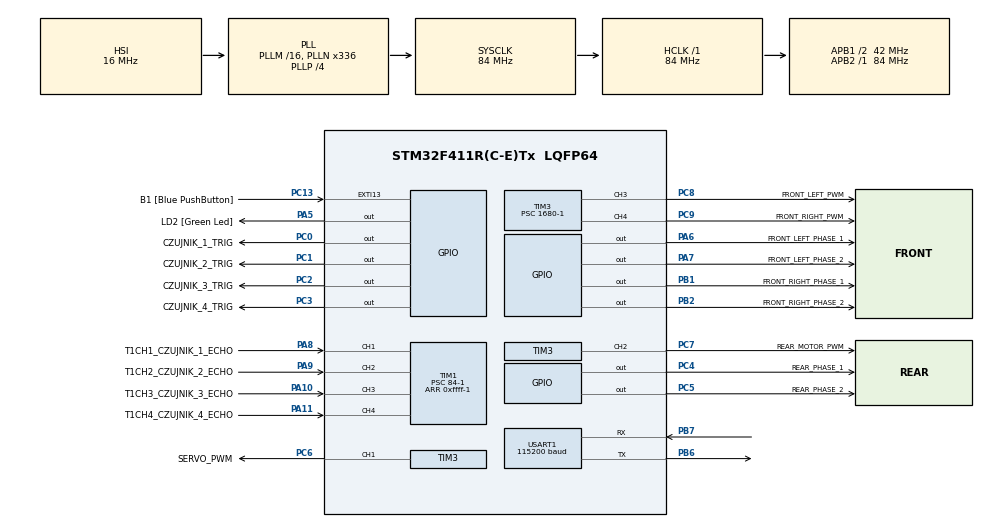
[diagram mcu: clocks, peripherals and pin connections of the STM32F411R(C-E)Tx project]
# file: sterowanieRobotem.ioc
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Dma.Request0=USART1_RX
Dma.USART1_RX.0.Direction=DMA_PERIPH_TO_MEMORY
Dma.USART1_RX.0.FIFOMode=DMA_FIFOMODE_DISABLE
Dma.USART1_RX.0.Instance=DMA2_Stream2
Dma.USART1_RX.0.MemDataAlignment=DMA_MDATAALIGN_BYTE
Dma.USART1_RX.0.MemInc=DMA_MINC_ENABLE
Dma.USART1_RX.0.Mode=DMA_NORMAL
Dma.USART1_RX.0.PeriphDataAlignment=DMA_PDATAALIGN_BYTE
Dma.USART1_RX.0.PeriphInc=DMA_PINC_DISABLE
Dma.USART1_RX.0.Priority=DMA_PRIORITY_LOW
FREERTOS.Tasks01=blink01,16,128,StartBlink01,Default,NULL,Dynamic,NULL,NULL;blink02,16,128,StartBlink02,Default,NULL,Dynamic,NULL,NULL;pwmTask,16,128,StartPwmTask,Default,NULL,Dynamic,NULL,NULL;sensorTask,24,128,StartSensorTask,Default,NULL,Dynamic,NULL,NULL
FREERTOS.configLIBRARY_MAX_SYSCALL_INTERRUPT_PRIORITY=4
FREERTOS.configUSE_NEWLIB_REENTRANT=1
FREERTOS.configUSE_PREEMPTION=0
Mcu.Family=STM32F4
Mcu.Name=STM32F411R(C-E)Tx
Mcu.Package=LQFP64
NVIC.DMA2_Stream2_IRQn=true\:5\:0\:true\:true\:true\:2\:false\:false\:true\:true
NVIC.PriorityGroup=NVIC_PRIORITYGROUP_4
NVIC.TIM1_BRK_TIM9_IRQn=true\:4\:0\:true\:false\:true\:false\:false\:true\:true
NVIC.TIM1_CC_IRQn=true\:4\:0\:true\:false\:true\:true\:true\:true\:true
NVIC.TimeBase=TIM1_BRK_TIM9_IRQn
NVIC.TimeBaseIP=TIM9
NVIC.USART1_IRQn=true\:5\:0\:true\:true\:true\:1\:true\:true\:true\:true
PA10.GPIO_Label=T1CH3_CZUJNIK_3_ECHO
PA10.Signal=S_TIM1_CH3
PA11.GPIO_Label=T1CH4_CZUJNIK_4_ECHO
PA11.Signal=S_TIM1_CH4
PA13.GPIO_Label=TMS
PA13.Mode=Serial_Wire
PA13.Signal=SYS_JTMS-SWDIO
PA14.GPIO_Label=TCK
PA14.Mode=Serial_Wire
PA14.Signal=SYS_JTCK-SWCLK
PA5.GPIO_Label=LD2 [Green Led]
PA5.Signal=GPIO_Output
PA6.GPIO_Label=FRONT_LEFT_PHASE_1
PA6.Signal=GPIO_Output
PA7.GPIO_Label=FRONT_LEFT_PHASE_2
PA7.Signal=GPIO_Output
PA8.GPIO_Label=T1CH1_CZUJNIK_1_ECHO
PA8.Signal=S_TIM1_CH1
PA9.GPIO_Label=T1CH2_CZUJNIK_2_ECHO
PA9.Signal=S_TIM1_CH2
PB1.GPIO_Label=FRONT_RIGHT_PHASE_1
PB1.Signal=GPIO_Output
PB2.GPIO_Label=FRONT_RIGHT_PHASE_2
PB2.Signal=GPIO_Output
PB3.GPIO_Label=SWO
PB3.Signal=SYS_JTDO-SWO
PB6.Mode=Asynchronous
PB6.Signal=USART1_TX
PB7.Mode=Asynchronous
PB7.Signal=USART1_RX
PC0.GPIO_Label=CZUJNIK_1_TRIG
PC0.GPIO_Speed=GPIO_SPEED_FREQ_HIGH
PC0.Signal=GPIO_Output
PC1.GPIO_Label=CZUJNIK_2_TRIG
PC1.Signal=GPIO_Output
PC13-ANTI_TAMP.GPIO_Label=B1 [Blue PushButton]
PC13-ANTI_TAMP.GPIO_ModeDefaultEXTI=GPIO_MODE_IT_FALLING
PC13-ANTI_TAMP.Signal=GPXTI13
PC14-OSC32_IN.Signal=RCC_OSC32_IN
PC15-OSC32_OUT.Signal=RCC_OSC32_OUT
PC2.GPIO_Label=CZUJNIK_3_TRIG
PC2.Signal=GPIO_Output
PC3.GPIO_Label=CZUJNIK_4_TRIG
PC3.Signal=GPIO_Output
PC4.GPIO_Label=REAR_PHASE_1
PC4.Signal=GPIO_Output
PC5.GPIO_Label=REAR_PHASE_2
PC5.Signal=GPIO_Output
PC6.GPIO_Label=SERVO_PWM
PC6.Signal=S_TIM3_CH1
PC7.GPIO_Label=REAR_MOTOR_PWM
PC7.Signal=S_TIM3_CH2
PC8.GPIO_Label=FRONT_LEFT_PWM
PC8.Signal=S_TIM3_CH3
PC9.GPIO_Label=FRONT_RIGHT_PWM
PC9.Signal=S_TIM3_CH4
PH0\ -\ OSC_IN.Signal=RCC_OSC_IN
PH1\ -\ OSC_OUT.Signal=RCC_OSC_OUT
ProjectManager.HeapSize=0x200
ProjectManager.StackSize=0x400
ProjectManager.TargetToolchain=STM32CubeIDE
RCC.48MHZClocksFreq_Value=84000000
RCC.AHBFreq_Value=84000000
RCC.APB1CLKDivider=RCC_HCLK_DIV2
RCC.APB1Freq_Value=42000000
RCC.APB1TimFreq_Value=84000000
RCC.APB2Freq_Value=84000000
RCC.APB2TimFreq_Value=84000000
RCC.CortexFreq_Value=84000000
RCC.FLatency-AdvancedSettings=FLASH_LATENCY_2
RCC.HCLKFreq_Value=84000000
RCC.HSE_VALUE=8000000
RCC.HSI_VALUE=16000000
RCC.LSE_VALUE=32768
RCC.PLLN=336
RCC.PLLP=RCC_PLLP_DIV4
RCC.SYSCLKFreq_VALUE=84000000
RCC.SYSCLKSource=RCC_SYSCLKSOURCE_PLLCLK
RCC.VCOOutputFreq_Value=336000000
SH.S_TIM1_CH1.0=TIM1_CH1,Input_Capture1_from_TI1
SH.S_TIM1_CH2.0=TIM1_CH2,Input_Capture2_from_TI2
SH.S_TIM1_CH3.0=TIM1_CH3,Input_Capture3_from_TI3
SH.S_TIM1_CH4.0=TIM1_CH4,Input_Capture4_from_TI4
SH.S_TIM3_CH1.0=TIM3_CH1,PWM Generation1 CH1
SH.S_TIM3_CH2.0=TIM3_CH2,PWM Generation2 CH2
SH.S_TIM3_CH3.0=TIM3_CH3,PWM Generation3 CH3
SH.S_TIM3_CH4.0=TIM3_CH4,PWM Generation4 CH4
TIM1.Channel-Input_Capture1_from_TI1=TIM_CHANNEL_1
TIM1.Channel-Input_Capture2_from_TI2=TIM_CHANNEL_2
TIM1.Channel-Input_Capture3_from_TI3=TIM_CHANNEL_3
TIM1.Channel-Input_Capture4_from_TI4=TIM_CHANNEL_4
TIM1.Period=0xffff-1
TIM1.Prescaler=84-1
TIM3.Channel-PWM\ Generation1\ CH1=TIM_CHANNEL_1
TIM3.Channel-PWM\ Generation2\ CH2=TIM_CHANNEL_2
TIM3.Channel-PWM\ Generation3\ CH3=TIM_CHANNEL_3
TIM3.Channel-PWM\ Generation4\ CH4=TIM_CHANNEL_4
TIM3.Period=1000-1
TIM3.Prescaler=1680-1
TIM4.Prescaler=84-1
USART1.BaudRate=115200
USART1.VirtualMode=VM_ASYNC
VP_FREERTOS_VS_CMSIS_V2.Mode=CMSIS_V2
VP_SYS_VS_tim9.Mode=TIM9
VP_TIM3_VS_ClockSourceINT.Mode=Internal
VP_TIM4_VS_ClockSourceINT.Mode=Internal
board=NUCLEO-F411RE

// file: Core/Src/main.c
/* USER CODE BEGIN Header */
/**
  ******************************************************************************
  * @file           : main.c
  * @brief          : Main program body
  ******************************************************************************
  * @attention
  *
  * Copyright (c) 2022 STMicroelectronics.
  * All rights reserved.
  *
  * This software is licensed under terms that can be found in the LICENSE file
  * in the root directory of this software component.
  * If no LICENSE file comes with this software, it is provided AS-IS.
  *
  ******************************************************************************
  */
/* USER CODE END Header */
#include "main.h"
#include "cmsis_os.h"

/* USER CODE BEGIN Includes */
#include <string.h>
#include <stdlib.h>
#include <stdio.h>
#include "jsmn.h"
/* USER CODE END Includes */

/* USER CODE BEGIN PD */
#define COMMAND_BUFFER_LENGTH 32
#define UART1_TX_BUFFER_LENGTH 60
#define UART_TX_TIMEOUT_MS 100
#define DMA_RECEIVE_LENGTH 30
#define HCSR04_TIME_BETWEEN_NEXT_SENSOR_USAGE_MS 50

/* USER CODE END PD */

TIM_HandleTypeDef htim1;
TIM_HandleTypeDef htim3;
TIM_HandleTypeDef htim4;

UART_HandleTypeDef huart1;
DMA_HandleTypeDef hdma_usart1_rx;

/* Definitions for blink01 */
osThreadId_t blink01Handle;
const osThreadAttr_t blink01_attributes = {
  .name = "blink01",
  .stack_size = 128 * 4,
  .priority = (osPriority_t) osPriorityBelowNormal,
};
/* Definitions for blink02 */
osThreadId_t blink02Handle;
const osThreadAttr_t blink02_attributes = {
  .name = "blink02",
  .stack_size = 128 * 4,
  .priority = (osPriority_t) osPriorityBelowNormal,
};
/* Definitions for pwmTask */
osThreadId_t pwmTaskHandle;
const osThreadAttr_t pwmTask_attributes = {
  .name = "pwmTask",
  .stack_size = 128 * 4,
  .priority = (osPriority_t) osPriorityBelowNormal,
};
/* Definitions for sensorTask */
osThreadId_t sensorTaskHandle;
const osThreadAttr_t sensorTask_attributes = {
  .name = "sensorTask",
  .stack_size = 128 * 4,
  .priority = (osPriority_t) osPriorityNormal,
};
/* USER CODE BEGIN PV */
int i;
int r;
int commandBufferIndex;
jsmn_parser p;
jsmntok_t t[128]; /* We expect no more than 128 tokens */
char commandBuffer[COMMAND_BUFFER_LENGTH] = {0};
int nestingLevel;
int speed = 0;
int direction = 0;
int drive_direction = 0;
int motor_speed = 0;

/// ODBIOR KOMEND Z BLUETOOTH
uint8_t ReceiveBuffer[32];
uint8_t UART1_txBuffer[UART1_TX_BUFFER_LENGTH] = {0};

/// CZUJNIKI
uint32_t IC_Val1 = 0;
uint32_t IC_Val2 = 0;
uint32_t Difference = 0;
uint8_t Is_First_Captured = 0;  // is the first value captured ?
uint8_t distance1 = 0;
uint8_t distance2 = 0;
uint8_t distance3 = 0;
uint8_t distance4 = 0;

/* USER CODE END PV */

void SystemClock_Config(void);
static void MX_GPIO_Init(void);
static void MX_DMA_Init(void);
static void MX_TIM3_Init(void);
static void MX_USART1_UART_Init(void);
static void MX_TIM1_Init(void);
static void MX_TIM4_Init(void);
void StartBlink01(void *argument);
void StartBlink02(void *argument);
void StartPwmTask(void *argument);
void StartSensorTask(void *argument);

static void MX_NVIC_Init(void);
/* USER CODE BEGIN PFP */
static int jsoneq(const char *json, jsmntok_t *tok, const char *s);
void zeroingBuffersAndJsonParser();
void delay_us (uint16_t us);
/* USER CODE END PFP */

int main(void)
{

  /* MCU Configuration--------------------------------------------------------*/

  /* Reset of all peripherals, Initializes the Flash interface and the Systick. */
  HAL_Init();

  /* USER CODE BEGIN Init */
    commandBufferIndex = 0;
    nestingLevel = 0;
//  speed = 0;
//  direction = 0;

    jsmn_init(&p);

  /* USER CODE END Init */

  /* Configure the system clock */
  SystemClock_Config();

  /* Initialize all configured peripherals */
  MX_GPIO_Init();
  MX_DMA_Init();
  MX_TIM3_Init();
  MX_USART1_UART_Init();
  MX_TIM1_Init();
  MX_TIM4_Init();

  /* Initialize interrupts */
  MX_NVIC_Init();
  /* USER CODE BEGIN 2 */
  HAL_TIM_Base_Start(&htim3); //start timera 3 dla generowania PWM do sterowania silnikami i serwem
  HAL_TIM_Base_Start(&htim4); //start timera 4 do odmierzania mikrosekund dla obslugi czujnikow ultradzwiekowych HC-04
  HAL_TIM_IC_Start_IT(&htim1, TIM_CHANNEL_1);
  HAL_TIM_IC_Start_IT(&htim1, TIM_CHANNEL_2);
  HAL_TIM_IC_Start_IT(&htim1, TIM_CHANNEL_3);
  HAL_TIM_IC_Start_IT(&htim1, TIM_CHANNEL_4);
  HAL_TIM_PWM_Start(&htim3, TIM_CHANNEL_1); //start timera 3 do generowania PWM do sterowania silnikami i serwem robota
  HAL_TIM_PWM_Start(&htim3, TIM_CHANNEL_2);
  HAL_TIM_PWM_Start(&htim3, TIM_CHANNEL_3);
  HAL_TIM_PWM_Start(&htim3, TIM_CHANNEL_4);
  HAL_UARTEx_ReceiveToIdle_DMA(&huart1, ReceiveBuffer, DMA_RECEIVE_LENGTH);
  __HAL_DMA_DISABLE_IT(&hdma_usart1_rx, DMA_IT_HT);
  /* USER CODE END 2 */

  /* Init scheduler */
  osKernelInitialize();

  /* Create the thread(s) */
  /* creation of blink01 */
  blink01Handle = osThreadNew(StartBlink01, NULL, &blink01_attributes);

  /* creation of blink02 */
  blink02Handle = osThreadNew(StartBlink02, NULL, &blink02_attributes);

  /* creation of pwmTask */
  pwmTaskHandle = osThreadNew(StartPwmTask, NULL, &pwmTask_attributes);

  /* creation of sensorTask */
  sensorTaskHandle = osThreadNew(StartSensorTask, NULL, &sensorTask_attributes);

  /* Start scheduler */
  osKernelStart();

  /* We should never get here as control is now taken by the scheduler */
  /* Infinite loop */
    while (1) {

    }
}

void SystemClock_Config(void)
{
  RCC_OscInitTypeDef RCC_OscInitStruct = {0};
  RCC_ClkInitTypeDef RCC_ClkInitStruct = {0};

  /** Configure the main internal regulator output voltage
  */
  __HAL_RCC_PWR_CLK_ENABLE();
  __HAL_PWR_VOLTAGESCALING_CONFIG(PWR_REGULATOR_VOLTAGE_SCALE1);

  /** Initializes the RCC Oscillators according to the specified parameters
  * in the RCC_OscInitTypeDef structure.
  */
  RCC_OscInitStruct.OscillatorType = RCC_OSCILLATORTYPE_HSI;
  RCC_OscInitStruct.HSIState = RCC_HSI_ON;
  RCC_OscInitStruct.HSICalibrationValue = RCC_HSICALIBRATION_DEFAULT;
  RCC_OscInitStruct.PLL.PLLState = RCC_PLL_ON;
  RCC_OscInitStruct.PLL.PLLSource = RCC_PLLSOURCE_HSI;
  RCC_OscInitStruct.PLL.PLLM = 16;
  RCC_OscInitStruct.PLL.PLLN = 336;
  RCC_OscInitStruct.PLL.PLLP = RCC_PLLP_DIV4;
  RCC_OscInitStruct.PLL.PLLQ = 4;
  if (HAL_RCC_OscConfig(&RCC_OscInitStruct) != HAL_OK)
  {
    Error_Handler();
  }

  /** Initializes the CPU, AHB and APB buses clocks
  */
  RCC_ClkInitStruct.ClockType = RCC_CLOCKTYPE_HCLK|RCC_CLOCKTYPE_SYSCLK
                              |RCC_CLOCKTYPE_PCLK1|RCC_CLOCKTYPE_PCLK2;
  RCC_ClkInitStruct.SYSCLKSource = RCC_SYSCLKSOURCE_PLLCLK;
  RCC_ClkInitStruct.AHBCLKDivider = RCC_SYSCLK_DIV1;
  RCC_ClkInitStruct.APB1CLKDivider = RCC_HCLK_DIV2;
  RCC_ClkInitStruct.APB2CLKDivider = RCC_HCLK_DIV1;

  if (HAL_RCC_ClockConfig(&RCC_ClkInitStruct, FLASH_LATENCY_2) != HAL_OK)
  {
    Error_Handler();
  }
}

/**
  * @brief NVIC Configuration.
  * @retval None
  */
static void MX_NVIC_Init(void)
{
  /* USART1_IRQn interrupt configuration */
  HAL_NVIC_SetPriority(USART1_IRQn, 5, 0);
  HAL_NVIC_EnableIRQ(USART1_IRQn);
  /* DMA2_Stream2_IRQn interrupt configuration */
  HAL_NVIC_SetPriority(DMA2_Stream2_IRQn, 5, 0);
  HAL_NVIC_EnableIRQ(DMA2_Stream2_IRQn);
}

static void MX_TIM1_Init(void)
{

  TIM_MasterConfigTypeDef sMasterConfig = {0};
  TIM_IC_InitTypeDef sConfigIC = {0};

  htim1.Instance = TIM1;
  htim1.Init.Prescaler = 84-1;
  htim1.Init.CounterMode = TIM_COUNTERMODE_UP;
  htim1.Init.Period = 0xffff-1;
  htim1.Init.ClockDivision = TIM_CLOCKDIVISION_DIV1;
  htim1.Init.RepetitionCounter = 0;
  htim1.Init.AutoReloadPreload = TIM_AUTORELOAD_PRELOAD_DISABLE;
  if (HAL_TIM_IC_Init(&htim1) != HAL_OK)
  {
    Error_Handler();
  }
  sMasterConfig.MasterOutputTrigger = TIM_TRGO_RESET;
  sMasterConfig.MasterSlaveMode = TIM_MASTERSLAVEMODE_DISABLE;
  if (HAL_TIMEx_MasterConfigSynchronization(&htim1, &sMasterConfig) != HAL_OK)
  {
    Error_Handler();
  }
  sConfigIC.ICPolarity = TIM_INPUTCHANNELPOLARITY_RISING;
  sConfigIC.ICSelection = TIM_ICSELECTION_DIRECTTI;
  sConfigIC.ICPrescaler = TIM_ICPSC_DIV1;
  sConfigIC.ICFilter = 0;
  if (HAL_TIM_IC_ConfigChannel(&htim1, &sConfigIC, TIM_CHANNEL_1) != HAL_OK)
  {
    Error_Handler();
  }
  if (HAL_TIM_IC_ConfigChannel(&htim1, &sConfigIC, TIM_CHANNEL_2) != HAL_OK)
  {
    Error_Handler();
  }
  if (HAL_TIM_IC_ConfigChannel(&htim1, &sConfigIC, TIM_CHANNEL_3) != HAL_OK)
  {
    Error_Handler();
  }
  if (HAL_TIM_IC_ConfigChannel(&htim1, &sConfigIC, TIM_CHANNEL_4) != HAL_OK)
  {
    Error_Handler();
  }

}

static void MX_TIM3_Init(void)
{

  TIM_ClockConfigTypeDef sClockSourceConfig = {0};
  TIM_MasterConfigTypeDef sMasterConfig = {0};
  TIM_OC_InitTypeDef sConfigOC = {0};

  htim3.Instance = TIM3;
  htim3.Init.Prescaler = 1680-1;
  htim3.Init.CounterMode = TIM_COUNTERMODE_UP;
  htim3.Init.Period = 1000-1;
  htim3.Init.ClockDivision = TIM_CLOCKDIVISION_DIV1;
  htim3.Init.AutoReloadPreload = TIM_AUTORELOAD_PRELOAD_DISABLE;
  if (HAL_TIM_Base_Init(&htim3) != HAL_OK)
  {
    Error_Handler();
  }
  sClockSourceConfig.ClockSource = TIM_CLOCKSOURCE_INTERNAL;
  if (HAL_TIM_ConfigClockSource(&htim3, &sClockSourceConfig) != HAL_OK)
  {
    Error_Handler();
  }
  if (HAL_TIM_PWM_Init(&htim3) != HAL_OK)
  {
    Error_Handler();
  }
  sMasterConfig.MasterOutputTrigger = TIM_TRGO_RESET;
  sMasterConfig.MasterSlaveMode = TIM_MASTERSLAVEMODE_DISABLE;
  if (HAL_TIMEx_MasterConfigSynchronization(&htim3, &sMasterConfig) != HAL_OK)
  {
    Error_Handler();
  }
  sConfigOC.OCMode = TIM_OCMODE_PWM1;
  sConfigOC.Pulse = 0;
  sConfigOC.OCPolarity = TIM_OCPOLARITY_HIGH;
  sConfigOC.OCFastMode = TIM_OCFAST_DISABLE;
  if (HAL_TIM_PWM_ConfigChannel(&htim3, &sConfigOC, TIM_CHANNEL_1) != HAL_OK)
  {
    Error_Handler();
  }
  if (HAL_TIM_PWM_ConfigChannel(&htim3, &sConfigOC, TIM_CHANNEL_2) != HAL_OK)
  {
    Error_Handler();
  }
  if (HAL_TIM_PWM_ConfigChannel(&htim3, &sConfigOC, TIM_CHANNEL_3) != HAL_OK)
  {
    Error_Handler();
  }
  if (HAL_TIM_PWM_ConfigChannel(&htim3, &sConfigOC, TIM_CHANNEL_4) != HAL_OK)
  {
    Error_Handler();
  }
  HAL_TIM_MspPostInit(&htim3);

}

static void MX_TIM4_Init(void)
{

  TIM_ClockConfigTypeDef sClockSourceConfig = {0};
  TIM_MasterConfigTypeDef sMasterConfig = {0};

  htim4.Instance = TIM4;
  htim4.Init.Prescaler = 84-1;
  htim4.Init.CounterMode = TIM_COUNTERMODE_UP;
  htim4.Init.Period = 65535;
  htim4.Init.ClockDivision = TIM_CLOCKDIVISION_DIV1;
  htim4.Init.AutoReloadPreload = TIM_AUTORELOAD_PRELOAD_DISABLE;
  if (HAL_TIM_Base_Init(&htim4) != HAL_OK)
  {
    Error_Handler();
  }
  sClockSourceConfig.ClockSource = TIM_CLOCKSOURCE_INTERNAL;
  if (HAL_TIM_ConfigClockSource(&htim4, &sClockSourceConfig) != HAL_OK)
  {
    Error_Handler();
  }
  sMasterConfig.MasterOutputTrigger = TIM_TRGO_RESET;
  sMasterConfig.MasterSlaveMode = TIM_MASTERSLAVEMODE_DISABLE;
  if (HAL_TIMEx_MasterConfigSynchronization(&htim4, &sMasterConfig) != HAL_OK)
  {
    Error_Handler();
  }

}

static void MX_USART1_UART_Init(void)
{

  huart1.Instance = USART1;
  huart1.Init.BaudRate = 115200;
  huart1.Init.WordLength = UART_WORDLENGTH_8B;
  huart1.Init.StopBits = UART_STOPBITS_1;
  huart1.Init.Parity = UART_PARITY_NONE;
  huart1.Init.Mode = UART_MODE_TX_RX;
  huart1.Init.HwFlowCtl = UART_HWCONTROL_NONE;
  huart1.Init.OverSampling = UART_OVERSAMPLING_16;
  if (HAL_UART_Init(&huart1) != HAL_OK)
  {
    Error_Handler();
  }

}

static void MX_DMA_Init(void)
{

  /* DMA controller clock enable */
  __HAL_RCC_DMA2_CLK_ENABLE();

}

static void MX_GPIO_Init(void)
{
  GPIO_InitTypeDef GPIO_InitStruct = {0};

  /* GPIO Ports Clock Enable */
  __HAL_RCC_GPIOC_CLK_ENABLE();
  __HAL_RCC_GPIOH_CLK_ENABLE();
  __HAL_RCC_GPIOA_CLK_ENABLE();
  __HAL_RCC_GPIOB_CLK_ENABLE();

  /*Configure GPIO pin Output Level */
  HAL_GPIO_WritePin(GPIOC, CZUJNIK_1_TRIG_Pin|CZUJNIK_2_TRIG_Pin|CZUJNIK_3_TRIG_Pin|CZUJNIK_4_TRIG_Pin
                          |REAR_PHASE_1_Pin|REAR_PHASE_2_Pin, GPIO_PIN_RESET);

  /*Configure GPIO pin Output Level */
  HAL_GPIO_WritePin(GPIOA, LD2_Pin|FRONT_LEFT_PHASE_1_Pin|FRONT_LEFT_PHASE_2_Pin, GPIO_PIN_RESET);

  /*Configure GPIO pin Output Level */
  HAL_GPIO_WritePin(GPIOB, FRONT_RIGHT_PHASE_1_Pin|FRONT_RIGHT_PHASE_2_Pin, GPIO_PIN_RESET);

  /*Configure GPIO pin : B1_Pin */
  GPIO_InitStruct.Pin = B1_Pin;
  GPIO_InitStruct.Mode = GPIO_MODE_IT_FALLING;
  GPIO_InitStruct.Pull = GPIO_NOPULL;
  HAL_GPIO_Init(B1_GPIO_Port, &GPIO_InitStruct);

  /*Configure GPIO pin : CZUJNIK_1_TRIG_Pin */
  GPIO_InitStruct.Pin = CZUJNIK_1_TRIG_Pin;
  GPIO_InitStruct.Mode = GPIO_MODE_OUTPUT_PP;
  GPIO_InitStruct.Pull = GPIO_NOPULL;
  GPIO_InitStruct.Speed = GPIO_SPEED_FREQ_HIGH;
  HAL_GPIO_Init(CZUJNIK_1_TRIG_GPIO_Port, &GPIO_InitStruct);

  /*Configure GPIO pins : CZUJNIK_2_TRIG_Pin CZUJNIK_3_TRIG_Pin CZUJNIK_4_TRIG_Pin REAR_PHASE_1_Pin
                           REAR_PHASE_2_Pin */
  GPIO_InitStruct.Pin = CZUJNIK_2_TRIG_Pin|CZUJNIK_3_TRIG_Pin|CZUJNIK_4_TRIG_Pin|REAR_PHASE_1_Pin
                          |REAR_PHASE_2_Pin;
  GPIO_InitStruct.Mode = GPIO_MODE_OUTPUT_PP;
  GPIO_InitStruct.Pull = GPIO_NOPULL;
  GPIO_InitStruct.Speed = GPIO_SPEED_FREQ_LOW;
  HAL_GPIO_Init(GPIOC, &GPIO_InitStruct);

  /*Configure GPIO pins : LD2_Pin FRONT_LEFT_PHASE_1_Pin FRONT_LEFT_PHASE_2_Pin */
  GPIO_InitStruct.Pin = LD2_Pin|FRONT_LEFT_PHASE_1_Pin|FRONT_LEFT_PHASE_2_Pin;
  GPIO_InitStruct.Mode = GPIO_MODE_OUTPUT_PP;
  GPIO_InitStruct.Pull = GPIO_NOPULL;
  GPIO_InitStruct.Speed = GPIO_SPEED_FREQ_LOW;
  HAL_GPIO_Init(GPIOA, &GPIO_InitStruct);

  /*Configure GPIO pins : FRONT_RIGHT_PHASE_1_Pin FRONT_RIGHT_PHASE_2_Pin */
  GPIO_InitStruct.Pin = FRONT_RIGHT_PHASE_1_Pin|FRONT_RIGHT_PHASE_2_Pin;
  GPIO_InitStruct.Mode = GPIO_MODE_OUTPUT_PP;
  GPIO_InitStruct.Pull = GPIO_NOPULL;
  GPIO_InitStruct.Speed = GPIO_SPEED_FREQ_LOW;
  HAL_GPIO_Init(GPIOB, &GPIO_InitStruct);

}

/* USER CODE BEGIN 4 */
static int jsoneq(const char *json, jsmntok_t *tok, const char *s) {
    if (tok->type == JSMN_STRING && (int) strlen(s) == tok->end - tok->start &&
        strncmp(json + tok->start, s, tok->end - tok->start) == 0) {
        return 0;
    }
    return -1;
}

void zeroingBuffersAndJsonParser() {
    commandBufferIndex = 0;
    nestingLevel = 0;
    for (int z = 0; z < COMMAND_BUFFER_LENGTH; z++)
        commandBuffer[z] = 0;
    for (int z = 0; z < UART1_TX_BUFFER_LENGTH; z++)
        UART1_txBuffer[z] = 0;
    jsmn_init(&p);
}

void zeroingUartTxBuffer() {
    for (int z = 0; z < UART1_TX_BUFFER_LENGTH; z++)
        UART1_txBuffer[z] = 0;
}

void HAL_UARTEx_RxEventCallback(UART_HandleTypeDef *huart, uint16_t Size) {
    // Check if UART1 trigger the Callback
    if (huart->Instance == USART1) {
        for (int k = 0; k < Size; k++) {
            if (ReceiveBuffer[k] == '{') {
                commandBuffer[commandBufferIndex] = ReceiveBuffer[k];
                commandBufferIndex++;
                nestingLevel++;
            } else if (ReceiveBuffer[k] == '}') {
                commandBuffer[commandBufferIndex] = ReceiveBuffer[k];
                commandBufferIndex++;
                nestingLevel--;
            } else if (ReceiveBuffer[k] == '!') {
                if (nestingLevel != 0) {
                    zeroingBuffersAndJsonParser();
//                    const char *error = "Invalid JSON command - wrong JSON nesting level";
//                    HAL_UART_Transmit(&huart1, error, strlen(error), UART_TX_TIMEOUT_MS);
                    speed = direction = 0;
                    break;
                } else {
                    r = jsmn_parse(&p, commandBuffer, strlen(commandBuffer), t, sizeof(t) / sizeof(t[0]));
                    if (r < 0) {
//                    HAL_UART_Transmit(&huart1, "Failed to parse JSON\n", 22, UART_TX_TIMEOUT_MS);
                    } else if (r < 1 || t[0].type != JSMN_OBJECT) {
//                    HAL_UART_Transmit(&huart1, "Object expected\n", 17, UART_TX_TIMEOUT_MS);
                    } else {
                        for (i = 1; i < r; i++) {
                            if (jsoneq((char *) commandBuffer, &t[i], "spd") == 0) {
                                /* We may use strndup() to fetch string value */
                                speed = strtol((char *) &commandBuffer + (t[i + 1].start), NULL, 10);
                                if (speed > 0) {
                                    motor_speed = speed;
                                    drive_direction = 1;
                                } else if (speed < 0) {
                                    motor_speed = -speed;
                                    drive_direction = -1;
                                } else {
                                    motor_speed = 0;
                                    drive_direction = 0;
                                }
//                                sprintf((char *) &UART1_txBuffer, "Speed: %.*s, konw_spd: %d\n",
//                                        t[i + 1].end - t[i + 1].start,
//                                        commandBuffer + t[i + 1].start, speed);
                                i++;
//                            HAL_UART_Transmit(&huart1, UART1_txBuffer, strlen(UART1_txBuffer), UART_TX_TIMEOUT_MS);
                            } else if (jsoneq(commandBuffer, &t[i], "dir") == 0) {
                                direction = strtol((char *) &commandBuffer + (t[i + 1].start), NULL, 10);
//                                sprintf((char *) &UART1_txBuffer, "Direction: %.*s, konw_dir: %d\n",
//                                        t[i + 1].end - t[i + 1].start,
//                                        commandBuffer + t[i + 1].start, direction);
                                i++;
//                            HAL_UART_Transmit(&huart1, UART1_txBuffer, strlen(UART1_txBuffer), UART_TX_TIMEOUT_MS);
                            } else {
//                                sprintf((char *) &UART1_txBuffer, "Unexpected key: %.*s\n", t[i].end - t[i].start,
//                                        commandBuffer + t[i].start);
//                            HAL_UART_Transmit(&huart1, UART1_txBuffer, strlen(UART1_txBuffer), UART_TX_TIMEOUT_MS);
                            }
                        }
                    }
                    zeroingBuffersAndJsonParser();
                    break;
                }
            } else {
                commandBuffer[commandBufferIndex] = ReceiveBuffer[k];
                commandBufferIndex++;
            }

            //TODO: mozna zoptymalizowac i wywalic poza ifa
            // Start to listening again - IMPORTANT!
            HAL_UARTEx_ReceiveToIdle_DMA(&huart1, ReceiveBuffer, DMA_RECEIVE_LENGTH);
            __HAL_DMA_DISABLE_IT(&hdma_usart1_rx, DMA_IT_HT);
        }
    } else {
        HAL_UARTEx_ReceiveToIdle_DMA(&huart1, ReceiveBuffer, DMA_RECEIVE_LENGTH);
        __HAL_DMA_DISABLE_IT(&hdma_usart1_rx, DMA_IT_HT);
    }
    ReceiveBuffer[0] = 0;
}

void HAL_TIM_IC_CaptureCallback(TIM_HandleTypeDef *htim) {
    if (htim->Channel == HAL_TIM_ACTIVE_CHANNEL_1) { // if the interrupt source is channel1
        if (Is_First_Captured == 0) { // if the first value is not captured
            IC_Val1 = HAL_TIM_ReadCapturedValue(htim, TIM_CHANNEL_1); // read the first value
            Is_First_Captured = 1;  // set the first captured as true
            // Now change the polarity to falling edge
            __HAL_TIM_SET_CAPTUREPOLARITY(htim, TIM_CHANNEL_1, TIM_INPUTCHANNELPOLARITY_FALLING);
        } else if (Is_First_Captured == 1) {  // if the first is already captured
            IC_Val2 = HAL_TIM_ReadCapturedValue(htim, TIM_CHANNEL_1);  // read second value
            __HAL_TIM_SET_COUNTER(htim, 0);  // reset the counter

            if (IC_Val2 > IC_Val1) {
                Difference = IC_Val2 - IC_Val1;
            } else if (IC_Val1 > IC_Val2) {
                Difference = (0xffff - IC_Val1) + IC_Val2;
            }

            distance1 = Difference * .034 / 2;
            Is_First_Captured = 0; // set it back to false

//            sprintf((char *) &UART1_txBuffer, "Odleglosc1: %d\n", distance1);
//            HAL_UART_Transmit(&huart1, UART1_txBuffer, strlen(UART1_txBuffer), UART_TX_TIMEOUT_MS);
//            zeroingUartTxBuffer();

            // set polarity to rising edge
            __HAL_TIM_SET_CAPTUREPOLARITY(htim, TIM_CHANNEL_1, TIM_INPUTCHANNELPOLARITY_RISING);
            __HAL_TIM_DISABLE_IT(&htim1, TIM_IT_CC1);
        }
    } else if (htim->Channel == HAL_TIM_ACTIVE_CHANNEL_2) { // if the interrupt source is channel2
        if (Is_First_Captured == 0) { // if the first value is not captured
            IC_Val1 = HAL_TIM_ReadCapturedValue(htim, TIM_CHANNEL_2); // read the first value
            Is_First_Captured = 1;  // set the first captured as true
            // Now change the polarity to falling edge
            __HAL_TIM_SET_CAPTUREPOLARITY(htim, TIM_CHANNEL_2, TIM_INPUTCHANNELPOLARITY_FALLING);
        } else if (Is_First_Captured == 1) {  // if the first is already captured
            IC_Val2 = HAL_TIM_ReadCapturedValue(htim, TIM_CHANNEL_2);  // read second value
            __HAL_TIM_SET_COUNTER(htim, 0);  // reset the counter

            if (IC_Val2 > IC_Val1) {
                Difference = IC_Val2 - IC_Val1;
            } else if (IC_Val1 > IC_Val2) {
                Difference = (0xffff - IC_Val1) + IC_Val2;
            }

            distance2 = Difference * .034 / 2;
            Is_First_Captured = 0; // set it back to false

//            sprintf((char *) &UART1_txBuffer, "Odleglosc2: %d\n", distance2);
//            HAL_UART_Transmit(&huart1, UART1_txBuffer, strlen(UART1_txBuffer), UART_TX_TIMEOUT_MS);
//            zeroingUartTxBuffer();

            // set polarity to rising edge
            __HAL_TIM_SET_CAPTUREPOLARITY(htim, TIM_CHANNEL_2, TIM_INPUTCHANNELPOLARITY_RISING);
            __HAL_TIM_DISABLE_IT(&htim1, TIM_IT_CC2);
        }
    } else if (htim->Channel == HAL_TIM_ACTIVE_CHANNEL_3) { // if the interrupt source is channel3
        if (Is_First_Captured == 0) { // if the first value is not captured
            IC_Val1 = HAL_TIM_ReadCapturedValue(htim, TIM_CHANNEL_3); // read the first value
            Is_First_Captured = 1;  // set the first captured as true
            // Now change the polarity to falling edge
            __HAL_TIM_SET_CAPTUREPOLARITY(htim, TIM_CHANNEL_3, TIM_INPUTCHANNELPOLARITY_FALLING);
        } else if (Is_First_Captured == 1) {  // if the first is already captured
            IC_Val2 = HAL_TIM_ReadCapturedValue(htim, TIM_CHANNEL_3);  // read second value
            __HAL_TIM_SET_COUNTER(htim, 0);  // reset the counter

            if (IC_Val2 > IC_Val1) {
                Difference = IC_Val2 - IC_Val1;
            } else if (IC_Val1 > IC_Val2) {
                Difference = (0xffff - IC_Val1) + IC_Val2;
            }

            distance3 = Difference * .034 / 2;
            Is_First_Captured = 0; // set it back to false

//            sprintf((char *) &UART1_txBuffer, "Odleglosc3: %d\n", distance3);
//            HAL_UART_Transmit(&huart1, UART1_txBuffer, strlen(UART1_txBuffer), UART_TX_TIMEOUT_MS);
//            zeroingUartTxBuffer();

            // set polarity to rising edge
            __HAL_TIM_SET_CAPTUREPOLARITY(htim, TIM_CHANNEL_3, TIM_INPUTCHANNELPOLARITY_RISING);
            __HAL_TIM_DISABLE_IT(&htim1, TIM_IT_CC3);
        }
    } else if (htim->Channel == HAL_TIM_ACTIVE_CHANNEL_4) { // if the interrupt source is channel4
        if (Is_First_Captured == 0) { // if the first value is not captured
            IC_Val1 = HAL_TIM_ReadCapturedValue(htim, TIM_CHANNEL_4); // read the first value
            Is_First_Captured = 1;  // set the first captured as true
            // Now change the polarity to falling edge
            __HAL_TIM_SET_CAPTUREPOLARITY(htim, TIM_CHANNEL_4, TIM_INPUTCHANNELPOLARITY_FALLING);
        } else if (Is_First_Captured == 1) {  // if the first is already captured
            IC_Val2 = HAL_TIM_ReadCapturedValue(htim, TIM_CHANNEL_4);  // read second value
            __HAL_TIM_SET_COUNTER(htim, 0);  // reset the counter

            if (IC_Val2 > IC_Val1) {
                Difference = IC_Val2 - IC_Val1;
            } else if (IC_Val1 > IC_Val2) {
                Difference = (0xffff - IC_Val1) + IC_Val2;
            }

            distance4 = Difference * .034 / 2;
            Is_First_Captured = 0; // set it back to false

//            sprintf((char *) &UART1_txBuffer, "Odleglosc4: %d\n", distance4);
//            HAL_UART_Transmit(&huart1, UART1_txBuffer, strlen(UART1_txBuffer), UART_TX_TIMEOUT_MS);
//            zeroingUartTxBuffer();

            // set polarity to rising edge
            __HAL_TIM_SET_CAPTUREPOLARITY(htim, TIM_CHANNEL_4, TIM_INPUTCHANNELPOLARITY_RISING);
            __HAL_TIM_DISABLE_IT(&htim1, TIM_IT_CC4);
        }
    }
}

void delay_us (uint16_t us) {
    __HAL_TIM_SET_COUNTER(&htim4,0);  // set the counter value a 0
    while (__HAL_TIM_GET_COUNTER(&htim4) < us);  // wait for the counter to reach the us input in the parameter
}
/* USER CODE END 4 */

void StartBlink01(void *argument)
{
  /* USER CODE BEGIN 5 */
    /* Infinite loop */
    for (;;) {
        HAL_GPIO_TogglePin(GPIOA, GPIO_PIN_5);
        osDelay(500);
    }

    osThreadTerminate(NULL);
  /* USER CODE END 5 */
}

void StartBlink02(void *argument)
{
  /* USER CODE BEGIN StartBlink02 */
    /* Infinite loop */
    for (;;) {
        HAL_GPIO_TogglePin(GPIOA, GPIO_PIN_5);
        osDelay(600);
    }

    osThreadTerminate(NULL);
  /* USER CODE END StartBlink02 */
}

void StartPwmTask(void *argument)
{
  /* USER CODE BEGIN StartPwmTask */
    /* Infinite loop */
    for (;;) {
        htim3.Instance->CCR1 = (direction / 4) + 75;  // duty cycle: 25 is 0.5ms ; 75 is 1.5 ms ; 125 is 2.5ms
        if (drive_direction == 0) {
            htim3.Instance->CCR2 = 0; //inaczej to, chyba innym pinem zmienia sie kierunek jazdy
            htim3.Instance->CCR3 = 0; //inaczej to, chyba innym pinem zmienia sie kierunek jazdy
            htim3.Instance->CCR4 = 0; //inaczej to, chyba innym pinem zmienia sie kierunek jazdy

            HAL_GPIO_WritePin(REAR_PHASE_1_GPIO_Port, REAR_PHASE_1_Pin, GPIO_PIN_RESET);
            HAL_GPIO_WritePin(REAR_PHASE_2_GPIO_Port, REAR_PHASE_2_Pin, GPIO_PIN_RESET);

            HAL_GPIO_WritePin(FRONT_LEFT_PHASE_1_GPIO_Port, FRONT_LEFT_PHASE_1_Pin, GPIO_PIN_RESET);
            HAL_GPIO_WritePin(FRONT_LEFT_PHASE_2_GPIO_Port, FRONT_LEFT_PHASE_2_Pin, GPIO_PIN_RESET);

            HAL_GPIO_WritePin(FRONT_RIGHT_PHASE_1_GPIO_Port, FRONT_RIGHT_PHASE_1_Pin, GPIO_PIN_RESET);
            HAL_GPIO_WritePin(FRONT_RIGHT_PHASE_2_GPIO_Port, FRONT_RIGHT_PHASE_2_Pin, GPIO_PIN_RESET);
        } else if (drive_direction == 1) {
            // 9.5 -:- 20 ms
            // 9.5ms = 9.5 * 50 = 475
            // 20ms = 20 * 50 = 1000
            htim3.Instance->CCR2 = (motor_speed * 525 / 100) + 300; //inaczej to, chyba innym pinem zmienia sie kierunek jazdy
            htim3.Instance->CCR3 = (motor_speed * 525 / 100) + 300; //inaczej to, chyba innym pinem zmienia sie kierunek jazdy
            htim3.Instance->CCR4 = (motor_speed * 525 / 100) + 300; //inaczej to, chyba innym pinem zmienia sie kierunek jazdy

            HAL_GPIO_WritePin(REAR_PHASE_1_GPIO_Port, REAR_PHASE_1_Pin, GPIO_PIN_RESET);
            HAL_GPIO_WritePin(REAR_PHASE_2_GPIO_Port, REAR_PHASE_2_Pin, GPIO_PIN_SET);

            HAL_GPIO_WritePin(FRONT_LEFT_PHASE_1_GPIO_Port, FRONT_LEFT_PHASE_1_Pin, GPIO_PIN_RESET);
            HAL_GPIO_WritePin(FRONT_LEFT_PHASE_2_GPIO_Port, FRONT_LEFT_PHASE_2_Pin, GPIO_PIN_SET);

            HAL_GPIO_WritePin(FRONT_RIGHT_PHASE_1_GPIO_Port, FRONT_RIGHT_PHASE_1_Pin, GPIO_PIN_SET);
            HAL_GPIO_WritePin(FRONT_RIGHT_PHASE_2_GPIO_Port, FRONT_RIGHT_PHASE_2_Pin, GPIO_PIN_RESET);
        } else if (drive_direction == -1) {
            htim3.Instance->CCR2 = (motor_speed * 525 / 100) + 300; //inaczej to, chyba innym pinem zmienia sie kierunek jazdy
            htim3.Instance->CCR3 = (motor_speed * 525 / 100) + 300; //inaczej to, chyba innym pinem zmienia sie kierunek jazdy
            htim3.Instance->CCR4 = (motor_speed * 525 / 100) + 300; //inaczej to, chyba innym pinem zmienia sie kierunek jazdy

            HAL_GPIO_WritePin(REAR_PHASE_1_GPIO_Port, REAR_PHASE_1_Pin, GPIO_PIN_SET);
            HAL_GPIO_WritePin(REAR_PHASE_2_GPIO_Port, REAR_PHASE_2_Pin, GPIO_PIN_RESET);

            HAL_GPIO_WritePin(FRONT_LEFT_PHASE_1_GPIO_Port, FRONT_LEFT_PHASE_1_Pin, GPIO_PIN_SET);
            HAL_GPIO_WritePin(FRONT_LEFT_PHASE_2_GPIO_Port, FRONT_LEFT_PHASE_2_Pin, GPIO_PIN_RESET);

            HAL_GPIO_WritePin(FRONT_RIGHT_PHASE_1_GPIO_Port, FRONT_RIGHT_PHASE_1_Pin, GPIO_PIN_RESET);
            HAL_GPIO_WritePin(FRONT_RIGHT_PHASE_2_GPIO_Port, FRONT_RIGHT_PHASE_2_Pin, GPIO_PIN_SET);
        }
        osDelay(50);
//        osThreadYield();
    }

    osThreadTerminate(NULL);
  /* USER CODE END StartPwmTask */
}

void StartSensorTask(void *argument)
{
  /* USER CODE BEGIN StartSensorTask */
    /* Infinite loop */
    for (;;) {
//        HAL_UART_Transmit(&huart1, "Sprawdzam odleglosc...\n", 23, UART_TX_TIMEOUT_MS);

        HAL_GPIO_WritePin(CZUJNIK_1_TRIG_GPIO_Port, CZUJNIK_1_TRIG_Pin, GPIO_PIN_SET);  // pull the TRIG pin HIGH
        delay_us(11);  // wait for 10 us
        HAL_GPIO_WritePin(CZUJNIK_1_TRIG_GPIO_Port, CZUJNIK_1_TRIG_Pin, GPIO_PIN_RESET);  // pull the TRIG pin low
        __HAL_TIM_ENABLE_IT(&htim1, TIM_IT_CC1);
        osDelay(HCSR04_TIME_BETWEEN_NEXT_SENSOR_USAGE_MS);

        HAL_GPIO_WritePin(CZUJNIK_2_TRIG_GPIO_Port, CZUJNIK_2_TRIG_Pin, GPIO_PIN_SET);  // pull the TRIG pin HIGH
        delay_us(11);  // wait for 10 us
        HAL_GPIO_WritePin(CZUJNIK_2_TRIG_GPIO_Port, CZUJNIK_2_TRIG_Pin, GPIO_PIN_RESET);  // pull the TRIG pin low
        __HAL_TIM_ENABLE_IT(&htim1, TIM_IT_CC2);
        osDelay(HCSR04_TIME_BETWEEN_NEXT_SENSOR_USAGE_MS);

        HAL_GPIO_WritePin(CZUJNIK_3_TRIG_GPIO_Port, CZUJNIK_3_TRIG_Pin, GPIO_PIN_SET);  // pull the TRIG pin HIGH
        delay_us(11);  // wait for 10 us
        HAL_GPIO_WritePin(CZUJNIK_3_TRIG_GPIO_Port, CZUJNIK_3_TRIG_Pin, GPIO_PIN_RESET);  // pull the TRIG pin low
        __HAL_TIM_ENABLE_IT(&htim1, TIM_IT_CC3);
        osDelay(HCSR04_TIME_BETWEEN_NEXT_SENSOR_USAGE_MS);

        HAL_GPIO_WritePin(CZUJNIK_4_TRIG_GPIO_Port, CZUJNIK_4_TRIG_Pin, GPIO_PIN_SET);  // pull the TRIG pin HIGH
        delay_us(11);  // wait for 10 us
        HAL_GPIO_WritePin(CZUJNIK_4_TRIG_GPIO_Port, CZUJNIK_4_TRIG_Pin, GPIO_PIN_RESET);  // pull the TRIG pin low
        __HAL_TIM_ENABLE_IT(&htim1, TIM_IT_CC4);

        sprintf(UART1_txBuffer, "%d;%d;%d;%d;\n", distance1, distance2, distance3, distance4);
        HAL_UART_Transmit(&huart1, UART1_txBuffer, strlen(UART1_txBuffer), UART_TX_TIMEOUT_MS);
//        osDelay(HCSR04_TIME_BETWEEN_NEXT_SENSOR_USAGE_MS);

        osDelay(200);
//        osThreadYield();
    }

    osThreadTerminate(NULL);
  /* USER CODE END StartSensorTask */
}

void HAL_TIM_PeriodElapsedCallback(TIM_HandleTypeDef *htim)
{
  if (htim->Instance == TIM9) {
    HAL_IncTick();
  }
}

void Error_Handler(void)
{
    __disable_irq();
    while (1) {
    }
}
